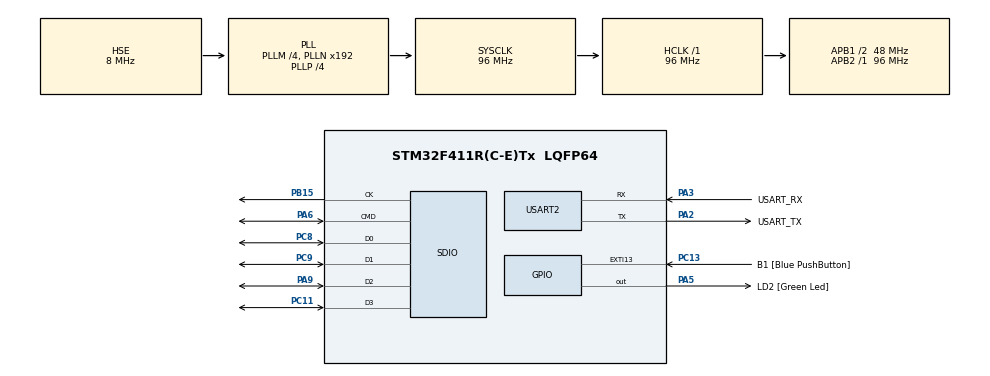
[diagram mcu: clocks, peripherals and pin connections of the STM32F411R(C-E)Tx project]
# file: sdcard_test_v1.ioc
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Dma.Request0=SDIO_RX
Dma.Request1=SDIO_TX
Dma.SDIO_RX.0.Direction=DMA_PERIPH_TO_MEMORY
Dma.SDIO_RX.0.FIFOMode=DMA_FIFOMODE_ENABLE
Dma.SDIO_RX.0.FIFOThreshold=DMA_FIFO_THRESHOLD_FULL
Dma.SDIO_RX.0.Instance=DMA2_Stream3
Dma.SDIO_RX.0.MemBurst=DMA_MBURST_INC4
Dma.SDIO_RX.0.MemDataAlignment=DMA_MDATAALIGN_WORD
Dma.SDIO_RX.0.MemInc=DMA_MINC_ENABLE
Dma.SDIO_RX.0.Mode=DMA_PFCTRL
Dma.SDIO_RX.0.PeriphBurst=DMA_PBURST_INC4
Dma.SDIO_RX.0.PeriphDataAlignment=DMA_PDATAALIGN_WORD
Dma.SDIO_RX.0.PeriphInc=DMA_PINC_DISABLE
Dma.SDIO_RX.0.Priority=DMA_PRIORITY_LOW
Dma.SDIO_TX.1.Direction=DMA_MEMORY_TO_PERIPH
Dma.SDIO_TX.1.FIFOMode=DMA_FIFOMODE_ENABLE
Dma.SDIO_TX.1.FIFOThreshold=DMA_FIFO_THRESHOLD_FULL
Dma.SDIO_TX.1.Instance=DMA2_Stream6
Dma.SDIO_TX.1.MemBurst=DMA_MBURST_INC4
Dma.SDIO_TX.1.MemDataAlignment=DMA_MDATAALIGN_WORD
Dma.SDIO_TX.1.MemInc=DMA_MINC_ENABLE
Dma.SDIO_TX.1.Mode=DMA_PFCTRL
Dma.SDIO_TX.1.PeriphBurst=DMA_PBURST_INC4
Dma.SDIO_TX.1.PeriphDataAlignment=DMA_PDATAALIGN_WORD
Dma.SDIO_TX.1.PeriphInc=DMA_PINC_DISABLE
Dma.SDIO_TX.1.Priority=DMA_PRIORITY_LOW
FATFS._CODE_PAGE=437
FATFS._USE_LFN=1
Mcu.Family=STM32F4
Mcu.Name=STM32F411R(C-E)Tx
Mcu.Package=LQFP64
NVIC.DMA2_Stream3_IRQn=true\:2\:0\:true\:false\:true\:false
NVIC.DMA2_Stream6_IRQn=true\:2\:0\:true\:false\:true\:false
NVIC.PriorityGroup=NVIC_PRIORITYGROUP_4
PA13.GPIO_Label=TMS
PA13.Mode=Trace_Asynchronous_SW
PA13.Signal=SYS_JTMS-SWDIO
PA14.GPIO_Label=TCK
PA14.Mode=Trace_Asynchronous_SW
PA14.Signal=SYS_JTCK-SWCLK
PA2.GPIO_Label=USART_TX
PA2.Mode=Asynchronous
PA2.Signal=USART2_TX
PA3.GPIO_Label=USART_RX
PA3.Mode=Asynchronous
PA3.Signal=USART2_RX
PA5.GPIO_Label=LD2 [Green Led]
PA5.Signal=GPIO_Output
PA6.GPIO_PuPd=GPIO_PULLUP
PA6.Mode=SD_4_bits_Wide_bus
PA6.Signal=SDIO_CMD
PA9.GPIO_PuPd=GPIO_PULLUP
PA9.Mode=SD_4_bits_Wide_bus
PA9.Signal=SDIO_D2
PB15.GPIO_PuPd=GPIO_PULLUP
PB15.Mode=SD_4_bits_Wide_bus
PB15.Signal=SDIO_CK
PB3.GPIO_Label=SWO
PB3.Mode=Trace_Asynchronous_SW
PB3.Signal=SYS_JTDO-SWO
PC11.GPIO_PuPd=GPIO_PULLUP
PC11.Mode=SD_4_bits_Wide_bus
PC11.Signal=SDIO_D3
PC13-ANTI_TAMP.GPIO_Label=B1 [Blue PushButton]
PC13-ANTI_TAMP.GPIO_ModeDefaultEXTI=GPIO_MODE_IT_FALLING
PC13-ANTI_TAMP.Signal=GPXTI13
PC14-OSC32_IN.Mode=LSE-External-Oscillator
PC14-OSC32_IN.Signal=RCC_OSC32_IN
PC15-OSC32_OUT.Mode=LSE-External-Oscillator
PC15-OSC32_OUT.Signal=RCC_OSC32_OUT
PC8.GPIO_PuPd=GPIO_PULLUP
PC8.Mode=SD_4_bits_Wide_bus
PC8.Signal=SDIO_D0
PC9.GPIO_PuPd=GPIO_PULLUP
PC9.Mode=SD_4_bits_Wide_bus
PC9.Signal=SDIO_D1
PH0\ -\ OSC_IN.Mode=HSE-External-Clock-Source
PH0\ -\ OSC_IN.Signal=RCC_OSC_IN
PH1\ -\ OSC_OUT.Mode=HSE-External-Clock-Source
PH1\ -\ OSC_OUT.Signal=RCC_OSC_OUT
ProjectManager.HeapSize=0x1000
ProjectManager.StackSize=0x1000
ProjectManager.TargetToolchain=MDK-ARM V5
RCC.48MHZClocksFreq_Value=48000000
RCC.AHBFreq_Value=96000000
RCC.APB1CLKDivider=RCC_HCLK_DIV2
RCC.APB1Freq_Value=48000000
RCC.APB1TimFreq_Value=96000000
RCC.APB2Freq_Value=96000000
RCC.APB2TimFreq_Value=96000000
RCC.CortexFreq_Value=96000000
RCC.FLatency-AdvancedSettings=FLASH_LATENCY_3
RCC.HCLKFreq_Value=96000000
RCC.HSE_VALUE=8000000
RCC.HSI_VALUE=16000000
RCC.PLLM=4
RCC.PLLP=RCC_PLLP_DIV4
RCC.PLLQ=8
RCC.PLLSourceVirtual=RCC_PLLSOURCE_HSE
RCC.SYSCLKFreq_VALUE=96000000
RCC.SYSCLKSource=RCC_SYSCLKSOURCE_PLLCLK
RCC.VCOOutputFreq_Value=384000000
SDIO.ClockDiv=4
USART2.VirtualMode=VM_ASYNC
VP_FATFS_VS_SDIO.Mode=SDIO
board=NUCLEO-F411RE

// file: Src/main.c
/**
  ******************************************************************************
  * @file           : main.c
  * @brief          : Main program body
  ******************************************************************************
  * This notice applies to any and all portions of this file
  * that are not between comment pairs USER CODE BEGIN and
  * USER CODE END. Other portions of this file, whether
  * inserted by the user or by software development tools
  * are owned by their respective copyright owners.
  *
  * Copyright (c) 2018 STMicroelectronics International N.V.
  * All rights reserved.
  *
  * Redistribution and use in source and binary forms, with or without
  * modification, are permitted, provided that the following conditions are met:
  *
  * 1. Redistribution of source code must retain the above copyright notice,
  *    this list of conditions and the following disclaimer.
  * 2. Redistributions in binary form must reproduce the above copyright notice,
  *    this list of conditions and the following disclaimer in the documentation
  *    and/or other materials provided with the distribution.
  * 3. Neither the name of STMicroelectronics nor the names of other
  *    contributors to this software may be used to endorse or promote products
  *    derived from this software without specific written permission.
  * 4. This software, including modifications and/or derivative works of this
  *    software, must execute solely and exclusively on microcontroller or
  *    microprocessor devices manufactured by or for STMicroelectronics.
  * 5. Redistribution and use of this software other than as permitted under
  *    this license is void and will automatically terminate your rights under
  *    this license.
  *
  * THIS SOFTWARE IS PROVIDED BY STMICROELECTRONICS AND CONTRIBUTORS "AS IS"
  * AND ANY EXPRESS, IMPLIED OR STATUTORY WARRANTIES, INCLUDING, BUT NOT
  * LIMITED TO, THE IMPLIED WARRANTIES OF MERCHANTABILITY, FITNESS FOR A
  * PARTICULAR PURPOSE AND NON-INFRINGEMENT OF THIRD PARTY INTELLECTUAL PROPERTY
  * RIGHTS ARE DISCLAIMED TO THE FULLEST EXTENT PERMITTED BY LAW. IN NO EVENT
  * SHALL STMICROELECTRONICS OR CONTRIBUTORS BE LIABLE FOR ANY DIRECT, INDIRECT,
  * INCIDENTAL, SPECIAL, EXEMPLARY, OR CONSEQUENTIAL DAMAGES (INCLUDING, BUT NOT
  * LIMITED TO, PROCUREMENT OF SUBSTITUTE GOODS OR SERVICES; LOSS OF USE, DATA,
  * OR PROFITS; OR BUSINESS INTERRUPTION) HOWEVER CAUSED AND ON ANY THEORY OF
  * LIABILITY, WHETHER IN CONTRACT, STRICT LIABILITY, OR TORT (INCLUDING
  * NEGLIGENCE OR OTHERWISE) ARISING IN ANY WAY OUT OF THE USE OF THIS SOFTWARE,
  * EVEN IF ADVISED OF THE POSSIBILITY OF SUCH DAMAGE.
  *
  ******************************************************************************
  */
#include "main.h"
#include "stm32f4xx_hal.h"
#include "fatfs.h"

/* USER CODE BEGIN Includes */
#include "string.h"
/* USER CODE END Includes */

SD_HandleTypeDef hsd;
DMA_HandleTypeDef hdma_sdio_rx;
DMA_HandleTypeDef hdma_sdio_tx;

UART_HandleTypeDef huart2;

/* USER CODE BEGIN PV */
/* Private variables ---------------------------------------------------------*/
FRESULT res;
FILINFO fno;
DIR dir;

extern uint8_t retSD; 	// Return value for SD
extern char SDPath[4]; 	// SD logical drive path
extern FATFS SDFatFS; 	// File system object for SD logical drive
extern FIL SDFile; 			// File object for SD

/* USER CODE END PV */

void SystemClock_Config(void);
static void MX_GPIO_Init(void);
static void MX_DMA_Init(void);
static void MX_USART2_UART_Init(void);
static void MX_SDIO_SD_Init(void);

/* USER CODE BEGIN PFP */
/* Private function prototypes -----------------------------------------------*/

/* USER CODE END PFP */

/* USER CODE BEGIN 0 */
#ifdef __GNUC__
 #define PUTCHAR_PROTOTYPE int __io_putchar(int ch)
#else
 #define PUTCHAR_PROTOTYPE int fputc(int ch, FILE *f)
#endif

PUTCHAR_PROTOTYPE
{
 HAL_UART_Transmit(&huart2, (uint8_t *)&ch, 1, 1);
 return ch;
}

void f_opendir_scan(void)
{
        TCHAR path[200] = "";

    res = f_mount(&SDFatFS,(TCHAR const*)SDPath,1);
    printf("SD Mount : res f_mount : %02X\n\r",res);

    if (res == FR_OK)
    {
    res = f_opendir(&dir,path);
        printf("res f_open : %02X\n\r",res);

        if (res == FR_OK)
        {
        while(1)
        {
            TCHAR *fn;

            res = f_readdir(&dir, &fno);

            if (res != FR_OK)
                printf("res = %d f_readdir\n\r", res);

            if ((res != FR_OK) || (fno.fname[0] == 0))
                break;

                        fn = fno.fname;
            printf("%c%c%c%c ",
                ((fno.fattrib & AM_DIR) ? 'D' : '-'),
                ((fno.fattrib & AM_RDO) ? 'R' : '-'),
                ((fno.fattrib & AM_SYS) ? 'S' : '-'),
                ((fno.fattrib & AM_HID) ? 'H' : '-') );

            printf("%10d ", fno.fsize);

            printf("%s/%s\n\r", path, fn);
        }
        }

        res = f_mount(0,SDPath,0);
        printf("SD Unmount : res f_mount : %02X\n\r",res);
    }
}

/* USER CODE END 0 */

int main(void)
{

  /* MCU Configuration----------------------------------------------------------*/

  /* Reset of all peripherals, Initializes the Flash interface and the Systick. */
  HAL_Init();

  /* Configure the system clock */
  SystemClock_Config();

  /* Initialize all configured peripherals */
  MX_GPIO_Init();
  MX_DMA_Init();
  MX_USART2_UART_Init();
  MX_SDIO_SD_Init();
  MX_FATFS_Init();
  /* USER CODE BEGIN 2 */
	printf("STM32F411 SD-CARD(SDIO/DMA) 4bit test!!\r\n");
	HAL_Delay(500);
	f_opendir_scan();
  /* USER CODE END 2 */

  /* Infinite loop */
  while (1)
  {

  }

}

void SystemClock_Config(void)
{

  RCC_OscInitTypeDef RCC_OscInitStruct;
  RCC_ClkInitTypeDef RCC_ClkInitStruct;

    /**Configure the main internal regulator output voltage
    */
  __HAL_RCC_PWR_CLK_ENABLE();

  __HAL_PWR_VOLTAGESCALING_CONFIG(PWR_REGULATOR_VOLTAGE_SCALE1);

    /**Initializes the CPU, AHB and APB busses clocks
    */
  RCC_OscInitStruct.OscillatorType = RCC_OSCILLATORTYPE_HSE;
  RCC_OscInitStruct.HSEState = RCC_HSE_BYPASS;
  RCC_OscInitStruct.PLL.PLLState = RCC_PLL_ON;
  RCC_OscInitStruct.PLL.PLLSource = RCC_PLLSOURCE_HSE;
  RCC_OscInitStruct.PLL.PLLM = 4;
  RCC_OscInitStruct.PLL.PLLN = 192;
  RCC_OscInitStruct.PLL.PLLP = RCC_PLLP_DIV4;
  RCC_OscInitStruct.PLL.PLLQ = 8;
  if (HAL_RCC_OscConfig(&RCC_OscInitStruct) != HAL_OK)
  {
    _Error_Handler(__FILE__, __LINE__);
  }

    /**Initializes the CPU, AHB and APB busses clocks
    */
  RCC_ClkInitStruct.ClockType = RCC_CLOCKTYPE_HCLK|RCC_CLOCKTYPE_SYSCLK
                              |RCC_CLOCKTYPE_PCLK1|RCC_CLOCKTYPE_PCLK2;
  RCC_ClkInitStruct.SYSCLKSource = RCC_SYSCLKSOURCE_PLLCLK;
  RCC_ClkInitStruct.AHBCLKDivider = RCC_SYSCLK_DIV1;
  RCC_ClkInitStruct.APB1CLKDivider = RCC_HCLK_DIV2;
  RCC_ClkInitStruct.APB2CLKDivider = RCC_HCLK_DIV1;

  if (HAL_RCC_ClockConfig(&RCC_ClkInitStruct, FLASH_LATENCY_3) != HAL_OK)
  {
    _Error_Handler(__FILE__, __LINE__);
  }

    /**Configure the Systick interrupt time
    */
  HAL_SYSTICK_Config(HAL_RCC_GetHCLKFreq()/1000);

    /**Configure the Systick
    */
  HAL_SYSTICK_CLKSourceConfig(SYSTICK_CLKSOURCE_HCLK);

  /* SysTick_IRQn interrupt configuration */
  HAL_NVIC_SetPriority(SysTick_IRQn, 0, 0);
}

/* SDIO init function */
static void MX_SDIO_SD_Init(void)
{

  hsd.Instance = SDIO;
  hsd.Init.ClockEdge = SDIO_CLOCK_EDGE_RISING;
  hsd.Init.ClockBypass = SDIO_CLOCK_BYPASS_DISABLE;
  hsd.Init.ClockPowerSave = SDIO_CLOCK_POWER_SAVE_DISABLE;
  hsd.Init.BusWide = SDIO_BUS_WIDE_1B;
  hsd.Init.HardwareFlowControl = SDIO_HARDWARE_FLOW_CONTROL_DISABLE;
  hsd.Init.ClockDiv = 4;

}

/* USART2 init function */
static void MX_USART2_UART_Init(void)
{

  huart2.Instance = USART2;
  huart2.Init.BaudRate = 115200;
  huart2.Init.WordLength = UART_WORDLENGTH_8B;
  huart2.Init.StopBits = UART_STOPBITS_1;
  huart2.Init.Parity = UART_PARITY_NONE;
  huart2.Init.Mode = UART_MODE_TX_RX;
  huart2.Init.HwFlowCtl = UART_HWCONTROL_NONE;
  huart2.Init.OverSampling = UART_OVERSAMPLING_16;
  if (HAL_UART_Init(&huart2) != HAL_OK)
  {
    _Error_Handler(__FILE__, __LINE__);
  }

}

static void MX_DMA_Init(void)
{
  /* DMA controller clock enable */
  __HAL_RCC_DMA2_CLK_ENABLE();

  /* DMA interrupt init */
  /* DMA2_Stream3_IRQn interrupt configuration */
  HAL_NVIC_SetPriority(DMA2_Stream3_IRQn, 2, 0);
  HAL_NVIC_EnableIRQ(DMA2_Stream3_IRQn);
  /* DMA2_Stream6_IRQn interrupt configuration */
  HAL_NVIC_SetPriority(DMA2_Stream6_IRQn, 2, 0);
  HAL_NVIC_EnableIRQ(DMA2_Stream6_IRQn);

}

/** Configure pins as
        * Analog
        * Input
        * Output
        * EVENT_OUT
        * EXTI
*/
static void MX_GPIO_Init(void)
{

  GPIO_InitTypeDef GPIO_InitStruct;

  /* GPIO Ports Clock Enable */
  __HAL_RCC_GPIOC_CLK_ENABLE();
  __HAL_RCC_GPIOH_CLK_ENABLE();
  __HAL_RCC_GPIOA_CLK_ENABLE();
  __HAL_RCC_GPIOB_CLK_ENABLE();

  /*Configure GPIO pin Output Level */
  HAL_GPIO_WritePin(LD2_GPIO_Port, LD2_Pin, GPIO_PIN_RESET);

  /*Configure GPIO pin : B1_Pin */
  GPIO_InitStruct.Pin = B1_Pin;
  GPIO_InitStruct.Mode = GPIO_MODE_IT_FALLING;
  GPIO_InitStruct.Pull = GPIO_NOPULL;
  HAL_GPIO_Init(B1_GPIO_Port, &GPIO_InitStruct);

  /*Configure GPIO pin : LD2_Pin */
  GPIO_InitStruct.Pin = LD2_Pin;
  GPIO_InitStruct.Mode = GPIO_MODE_OUTPUT_PP;
  GPIO_InitStruct.Pull = GPIO_NOPULL;
  GPIO_InitStruct.Speed = GPIO_SPEED_FREQ_LOW;
  HAL_GPIO_Init(LD2_GPIO_Port, &GPIO_InitStruct);

}

void _Error_Handler(char *file, int line)
{
  while(1)
  {
  }
}

/************************ (C) COPYRIGHT STMicroelectronics *****END OF FILE****/
